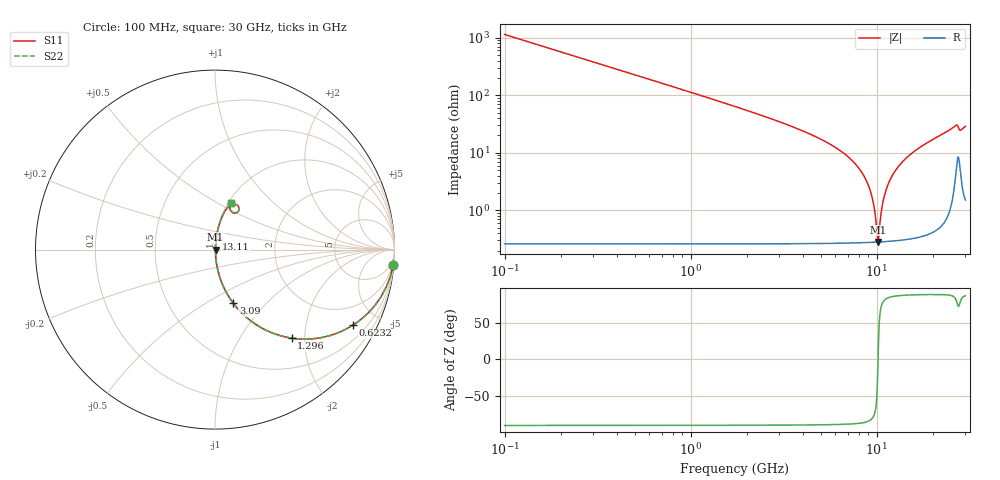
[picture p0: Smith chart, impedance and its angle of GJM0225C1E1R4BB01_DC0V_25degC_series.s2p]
!Murata Part Number: GJM0225C1E1R4BB01
!These Parameters are Measured in Series Mode Connection
!  o--ll--o
!Port1  Port2
!  o------o
!Operation Temp=25[degC], DC Bias Voltage=0[V]
!Freq. Start=100[MHz] Stop=30[GHz], 401[Steps]
!Data Generated on Feb 1, 2023
# Hz S RI R 50
!Freq.(Hz) S11(Real) S11(Imag) S21(Real) S21(Imag) S12(Real) S12(Imag) S22(Real) S22(Imag)
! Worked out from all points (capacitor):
!   401 points, 100 MHz to 30 GHz, reference 50 ohm
!   read as one part in series: C = 1.4 pF near 249.5 MHz
!   lowest |Z| = 283 mohm at 10.19 GHz (marker M1)
!   series resonance near 10.18 GHz, so ESL is about 170 pH
!   S11 on the Smith chart (normalised r, x): 100 MHz: 1, -23; 623.2 MHz: 1.01, -3.63; 1.296 GHz: 1.01, -1.73; 3.09 GHz: 1.01, -0.67; 13.11 GHz: 1.01, +0.12; 30 GHz: 1.03, +0.57
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1e8  0.9923 -0.0873  0.0077 0.0873  0.0077 0.0873  0.9923 -0.0873
3.99e8  0.8898 -0.3127  0.1102 0.3127  0.1102 0.3127  0.8898 -0.3127
6.2325e8  0.7672 -0.4219  0.2328 0.4219  0.2328 0.4219  0.7672 -0.4219
1.296e9  0.4271 -0.4931  0.5729 0.4931  0.5729 0.4931  0.4271 -0.4931
2.0435e9  0.223 -0.4138  0.777 0.4138  0.777 0.4138  0.223 -0.4138
3.09e9  0.1023 -0.2992  0.8977 0.2992  0.8977 0.2992  0.1023 -0.2992
5.10825e9  0.0295 -0.1614  0.9705 0.1614  0.9705 0.1614  0.0295 -0.1614
7.4255e9  0.0078 -0.0711  0.9922 0.0711  0.9922 0.0711  0.0078 -0.0711
8.771e9  0.00386 -0.0333  0.9961 0.0333  0.9961 0.0333  0.00386 -0.0333
9.59325e9  0.00295 -0.0132  0.997 0.0132  0.997 0.0132  0.00295 -0.0132
1.01165e10  0.0028 -0.00133  0.9972 0.00133  0.9972 0.00133  0.0028 -0.00133
1.019125e10  0.0028 0.00032  0.9972 -0.00032  0.9972 -0.00032  0.0028 0.00032
1.07145e10  0.00296 0.0115  0.997 -0.0115  0.997 -0.0115  0.00296 0.0115
1.1163e10  0.00329 0.0208  0.9967 -0.0208  0.9967 -0.0208  0.00329 0.0208
1.198525e10  0.00426 0.0368  0.9957 -0.0368  0.9957 -0.0368  0.00426 0.0368
1.31065e10  0.00629 0.0574  0.9937 -0.0574  0.9937 -0.0574  0.00629 0.0574
1.505e10  0.0113 0.09  0.9887 -0.09  0.9887 -0.09  0.0113 0.09
2.005825e10  0.032 0.1642  0.968 -0.1642  0.968 -0.1642  0.032 0.1642
2.50665e10  0.0715 0.236  0.9285 -0.236  0.9285 -0.236  0.0715 0.236
2.68605e10  0.1227 0.2483  0.8773 -0.2483  0.8773 -0.2483  0.1227 0.2483
2.813125e10  0.0955 0.2078  0.9045 -0.2078  0.9045 -0.2078  0.0955 0.2078
3e10  0.0879 0.258  0.9121 -0.258  0.9121 -0.258  0.0879 0.258
